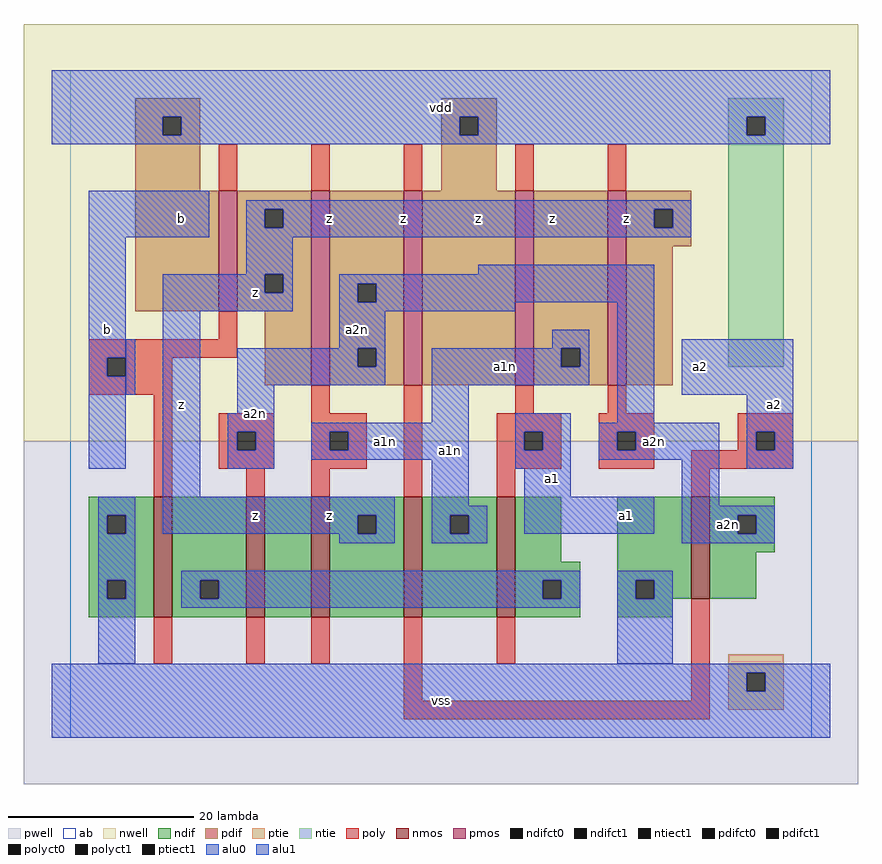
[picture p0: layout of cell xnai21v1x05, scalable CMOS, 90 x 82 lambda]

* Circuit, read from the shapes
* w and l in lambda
.subckt xnai21v1x05 a1 a1n a2 a2n b vdd vss z
M1 n1 b vss vss nfet w=13 l=2
M2 n2 a2n n1 vss nfet w=13 l=2
M3 z a1n n2 vss nfet w=13 l=2
M4 a1n a2 z vss nfet w=13 l=2
M5 n1 a1 a1n vss nfet w=13 l=2
M6 a2n a2 vss vss nfet w=11 l=2
M7 z b vdd vdd pfet w=13 l=2
M8 a2n a1n z vdd pfet w=21 l=2
M9 vdd a2 a2n vdd pfet w=21 l=2
M10 a1n a1 vdd vdd pfet w=21 l=2
M11 z a2n a1n vdd pfet w=21 l=2
.ends

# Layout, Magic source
magic
tech scmos
<< ab >>
rect 0 0 80 72
<< nwell >>
rect -5 32 85 77
<< pwell >>
rect -5 -5 85 32
<< poly >>
rect 16 59 18 64
rect 26 59 28 64
rect 36 59 38 64
rect 48 59 50 64
rect 58 59 60 64
rect 16 43 18 46
rect 2 41 18 43
rect 2 39 4 41
rect 6 39 11 41
rect 2 37 11 39
rect 9 26 11 37
rect 26 35 28 38
rect 16 33 22 35
rect 16 31 18 33
rect 20 31 22 33
rect 16 29 22 31
rect 26 33 32 35
rect 26 31 28 33
rect 30 31 32 33
rect 26 29 32 31
rect 19 26 21 29
rect 26 26 28 29
rect 36 26 38 38
rect 48 35 50 38
rect 58 35 60 38
rect 46 33 53 35
rect 46 31 49 33
rect 51 31 53 33
rect 46 29 53 31
rect 57 33 63 35
rect 57 31 59 33
rect 61 31 63 33
rect 72 33 78 35
rect 72 31 74 33
rect 76 31 78 33
rect 57 29 63 31
rect 67 29 78 31
rect 46 26 48 29
rect 67 26 69 29
rect 9 8 11 13
rect 19 8 21 13
rect 26 8 28 13
rect 36 4 38 13
rect 46 8 48 13
rect 67 4 69 15
rect 36 2 69 4
<< ndif >>
rect 2 24 9 26
rect 2 22 4 24
rect 6 22 9 24
rect 2 17 9 22
rect 2 15 4 17
rect 6 15 9 17
rect 2 13 9 15
rect 11 17 19 26
rect 11 15 14 17
rect 16 15 19 17
rect 11 13 19 15
rect 21 13 26 26
rect 28 24 36 26
rect 28 22 31 24
rect 33 22 36 24
rect 28 13 36 22
rect 38 24 46 26
rect 38 22 41 24
rect 43 22 46 24
rect 38 13 46 22
rect 48 19 53 26
rect 48 17 55 19
rect 48 15 51 17
rect 53 15 55 17
rect 48 13 55 15
rect 59 17 67 26
rect 59 15 61 17
rect 63 15 67 17
rect 69 24 76 26
rect 69 22 72 24
rect 74 22 76 24
rect 69 20 76 22
rect 69 15 74 20
rect 59 13 65 15
<< pdif >>
rect 7 67 14 69
rect 7 65 10 67
rect 12 65 14 67
rect 7 59 14 65
rect 40 67 46 69
rect 40 65 42 67
rect 44 65 46 67
rect 40 59 46 65
rect 7 46 16 59
rect 18 57 26 59
rect 18 55 21 57
rect 23 55 26 57
rect 18 50 26 55
rect 18 48 21 50
rect 23 48 26 50
rect 18 46 26 48
rect 21 38 26 46
rect 28 49 36 59
rect 28 47 31 49
rect 33 47 36 49
rect 28 42 36 47
rect 28 40 31 42
rect 33 40 36 42
rect 28 38 36 40
rect 38 38 48 59
rect 50 42 58 59
rect 50 40 53 42
rect 55 40 58 42
rect 50 38 58 40
rect 60 57 67 59
rect 60 55 63 57
rect 65 55 67 57
rect 60 53 67 55
rect 60 38 65 53
<< alu1 >>
rect -2 67 82 72
rect -2 65 10 67
rect 12 65 42 67
rect 44 65 73 67
rect 75 65 82 67
rect -2 64 82 65
rect 2 54 15 59
rect 19 57 67 58
rect 19 55 21 57
rect 23 55 63 57
rect 65 55 67 57
rect 19 54 67 55
rect 2 41 6 54
rect 19 50 24 54
rect 10 48 21 50
rect 23 48 24 50
rect 10 46 24 48
rect 2 39 4 41
rect 2 29 6 39
rect 10 26 14 46
rect 10 24 35 26
rect 10 22 31 24
rect 33 22 35 24
rect 29 21 35 22
rect 48 33 54 35
rect 66 37 78 43
rect 48 31 49 33
rect 51 31 54 33
rect 48 29 54 31
rect 49 26 54 29
rect 49 22 63 26
rect 73 33 78 37
rect 73 31 74 33
rect 76 31 78 33
rect 73 29 78 31
rect -2 7 82 8
rect -2 5 73 7
rect 75 5 82 7
rect -2 0 82 5
<< ptie >>
rect 71 7 77 9
rect 71 5 73 7
rect 75 5 77 7
rect 71 3 77 5
<< ntie >>
rect 71 67 77 69
rect 71 65 73 67
rect 75 65 77 67
rect 71 40 77 65
<< nmos >>
rect 9 13 11 26
rect 19 13 21 26
rect 26 13 28 26
rect 36 13 38 26
rect 46 13 48 26
rect 67 15 69 26
<< pmos >>
rect 16 46 18 59
rect 26 38 28 59
rect 36 38 38 59
rect 48 38 50 59
rect 58 38 60 59
<< polyct0 >>
rect 18 31 20 33
rect 28 31 30 33
rect 59 31 61 33
<< polyct1 >>
rect 4 39 6 41
rect 49 31 51 33
rect 74 31 76 33
<< ndifct0 >>
rect 4 22 6 24
rect 4 15 6 17
rect 14 15 16 17
rect 41 22 43 24
rect 51 15 53 17
rect 61 15 63 17
rect 72 22 74 24
<< ndifct1 >>
rect 31 22 33 24
<< ntiect1 >>
rect 73 65 75 67
<< ptiect1 >>
rect 73 5 75 7
<< pdifct0 >>
rect 31 47 33 49
rect 31 40 33 42
rect 53 40 55 42
<< pdifct1 >>
rect 10 65 12 67
rect 42 65 44 67
rect 21 55 23 57
rect 21 48 23 50
rect 63 55 65 57
<< alu0 >>
rect 44 50 63 51
rect 29 49 63 50
rect 29 47 31 49
rect 33 47 63 49
rect 29 46 48 47
rect 6 37 7 43
rect 29 42 34 46
rect 52 42 56 44
rect 18 40 31 42
rect 33 40 34 42
rect 18 38 34 40
rect 39 40 53 42
rect 55 40 56 42
rect 39 38 56 40
rect 18 35 22 38
rect 17 33 22 35
rect 39 34 43 38
rect 17 31 18 33
rect 20 31 22 33
rect 17 29 22 31
rect 26 33 43 34
rect 26 31 28 33
rect 30 31 43 33
rect 26 30 43 31
rect 3 24 7 26
rect 3 22 4 24
rect 6 22 7 24
rect 3 17 7 22
rect 39 25 43 30
rect 59 34 63 47
rect 57 33 70 34
rect 57 31 59 33
rect 61 31 70 33
rect 57 30 70 31
rect 39 24 45 25
rect 39 22 41 24
rect 43 22 45 24
rect 66 25 70 30
rect 66 24 76 25
rect 66 22 72 24
rect 74 22 76 24
rect 39 21 45 22
rect 66 21 76 22
rect 3 15 4 17
rect 6 15 7 17
rect 3 8 7 15
rect 12 17 55 18
rect 12 15 14 17
rect 16 15 51 17
rect 53 15 55 17
rect 12 14 55 15
rect 59 17 65 18
rect 59 15 61 17
rect 63 15 65 17
rect 59 8 65 15
<< labels >>
rlabel alu0 20 35 20 35 6 a2n
rlabel alu0 31 44 31 44 6 a2n
rlabel alu0 34 32 34 32 6 a1n
rlabel alu0 41 31 41 31 6 a1n
rlabel alu0 47 40 47 40 6 a1n
rlabel alu0 63 32 63 32 6 a2n
rlabel alu0 71 23 71 23 6 a2n
rlabel alu1 12 36 12 36 6 z
rlabel alu1 4 44 4 44 6 b
rlabel alu1 12 56 12 56 6 b
rlabel alu1 20 24 20 24 6 z
rlabel alu1 28 24 28 24 6 z
rlabel alu1 20 48 20 48 6 z
rlabel alu1 28 56 28 56 6 z
rlabel alu1 36 56 36 56 6 z
rlabel alu1 40 4 40 4 6 vss
rlabel alu1 52 28 52 28 6 a1
rlabel alu1 52 56 52 56 6 z
rlabel alu1 44 56 44 56 6 z
rlabel alu1 40 68 40 68 6 vdd
rlabel alu1 60 24 60 24 6 a1
rlabel alu1 76 36 76 36 6 a2
rlabel alu1 68 40 68 40 6 a2
rlabel alu1 60 56 60 56 6 z
<< end >>
